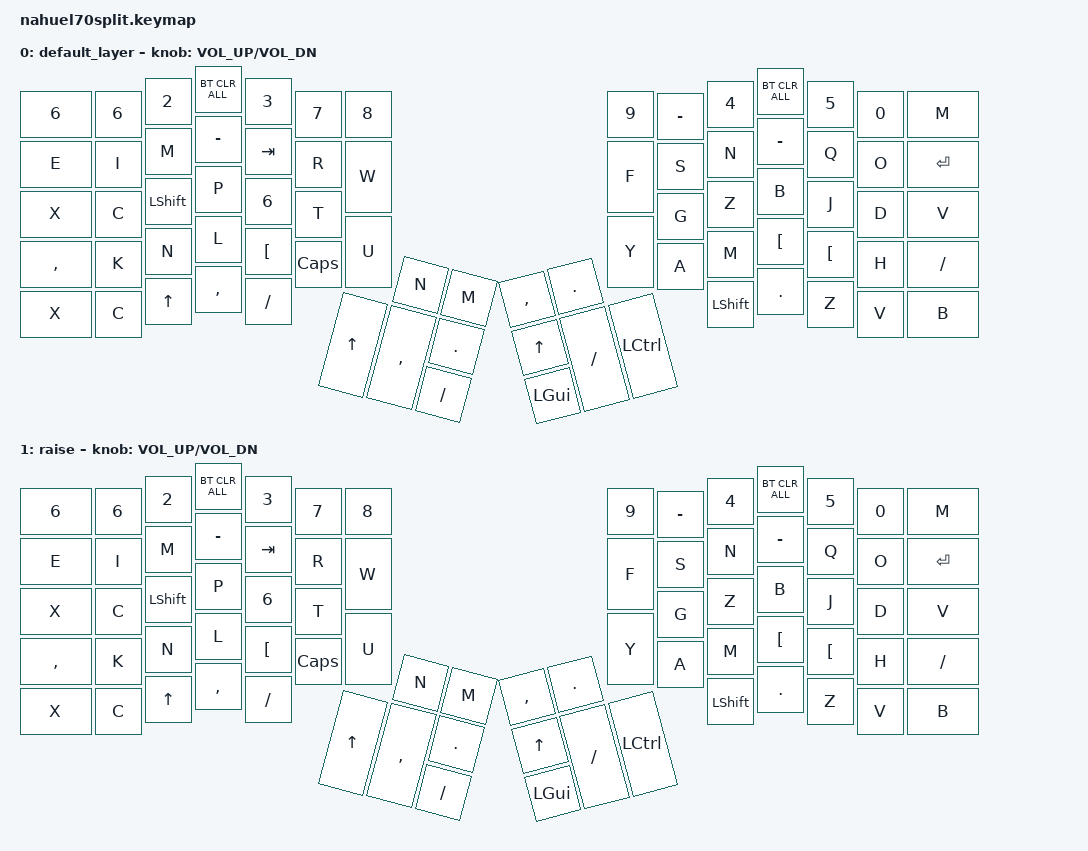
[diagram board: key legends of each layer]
#include <behaviors.dtsi>
#include <dt-bindings/zmk/keys.h>
#include <dt-bindings/zmk/bt.h>
#include <dt-bindings/zmk/ext_power.h>

/ {
    keymap {
        compatible = "zmk,keymap";

        default_layer {
            bindings = <
                &bt BT_CLR_ALL &bt BT_CLR_ALL &kp N2  &kp N3 &kp N4 &kp N5 &kp N6                  &kp N7 &kp  N8   &kp  N9 &kp  N0  &kp MINUS &kp MINUS &kp MINUS
                &kp TAB  &kp Q  &kp W  &kp F  &kp P  &kp B  &kp N6            &kp J  &kp  L    &kp  U  &kp  Y   &kp LBKT  &kp LBKT  &kp LBKT
                &kp CLCK  &kp A  &kp R  &kp S  &kp T  &kp G  &kp N6         &kp M  &kp  M    &kp  N  &kp E &kp I   &kp O   &kp RET
                &kp LSHFT  &kp Z  &kp X  &kp C  &kp D  &kp V  &kp N  &kp M      &kp COMMA &kp K &kp H &kp FSLH &kp COMMA &kp DOT &kp UP &kp FSLH
                &kp LSHFT  &kp Z  &kp X  &kp C  &kp V  &kp B  &kp N  &kp M      &kp COMMA &kp DOT &kp UP &kp FSLH &kp COMMA &kp DOT &kp UP &kp FSLH
                                                                     &kp LCTRL  &kp LGUI
            >;
            sensor-bindings = <&inc_dec_kp C_VOL_UP C_VOL_DN>;
        };
        raise {
            bindings = <
                &bt BT_CLR_ALL &bt BT_CLR_ALL &kp N2  &kp N3 &kp N4 &kp N5 &kp N6                  &kp N7 &kp  N8   &kp  N9 &kp  N0  &kp MINUS &kp MINUS &kp MINUS
                &kp TAB  &kp Q  &kp W  &kp F  &kp P  &kp B  &kp N6            &kp J  &kp  L    &kp  U  &kp  Y   &kp LBKT  &kp LBKT  &kp LBKT
                &kp CLCK  &kp A  &kp R  &kp S  &kp T  &kp G  &kp N6         &kp M  &kp  M    &kp  N  &kp E &kp I   &kp O   &kp RET
                &kp LSHFT  &kp Z  &kp X  &kp C  &kp D  &kp V  &kp N  &kp M      &kp COMMA &kp K &kp H &kp FSLH &kp COMMA &kp DOT &kp UP &kp FSLH
                &kp LSHFT  &kp Z  &kp X  &kp C  &kp V  &kp B  &kp N  &kp M      &kp COMMA &kp DOT &kp UP &kp FSLH &kp COMMA &kp DOT &kp UP &kp FSLH
                                                                     &kp LCTRL  &kp LGUI
            >;
            sensor-bindings = <&inc_dec_kp C_VOL_UP C_VOL_DN>;
        };
    };
};
